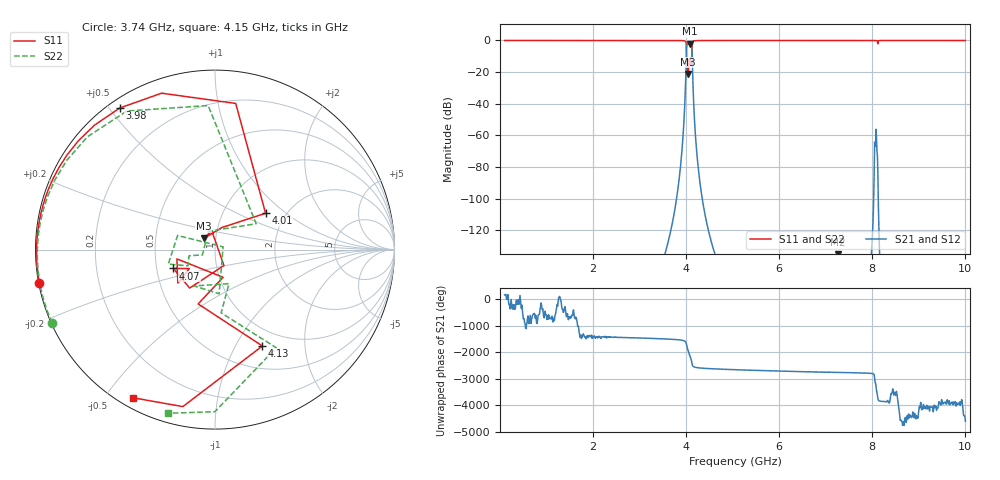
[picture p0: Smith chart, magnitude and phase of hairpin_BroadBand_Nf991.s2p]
! Sonnet Data File
! From: em Version : 18.56
! From Project: hairpin_BroadBand_Nf991
! Data is De-embedded
! Data File Written: 03/21/2023 19:02:32
!< HDATE 10/24/2012 11:01:19
!< MDATE 10/24/2012 11:01:19
# GHZ S MA R 50.00000
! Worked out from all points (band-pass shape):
!   991 points, 100 MHz to 10 GHz, reference 50 ohm
!   highest |S21| = -1.98 dB at 4.08 GHz (marker M1); lowest = -199.0 dB at 7.26 GHz (marker M2)
!   |S21| within 3 dB of the highest: 4.01 GHz to 4.122 GHz (112.5 MHz wide, 2.77 % of centre)
!   lowest |S11| = -21.1 dB at 4.03 GHz (marker M3), VSWR 1.19, Z = 43.8 + j5.54 ohm
!   |S11| at or under -10 dB: 4.011 GHz to 4.12 GHz (109 MHz wide, 2.68 % of centre)
!   |S22| runs from -26.4 to 0.0 dB; largest |S21 - S12| = 7.8e-12
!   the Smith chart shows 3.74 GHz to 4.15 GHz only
!   S11 on the Smith chart (normalised r, x): 3.74 GHz: 0.00, -0.09; 3.98 GHz: 0.03, +0.53; 4.01 GHz: 1.58, +0.73; 4.07 GHz: 0.61, -0.14; 4.13 GHz: 0.77, -1.29; 4.15 GHz: 0.04, -0.59
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0.1  0.9999 -3.0  8.675e-12 161.1  8.675e-12 161.1  0.9999 -2.8
1.75  0.9988 -57.0  2.28e-11 -41.7  2.28e-11 -41.7  0.9989 -53.5
3.41  0.9971 -141.6  4.353e-08 -47.0  4.353e-08 -47.0  0.9972 -130.2
3.74  0.9956 -169.4  3.24e-06 -75.0  3.24e-06 -75.0  0.9958 -155.8
3.89  0.9907 168.0  0.0001523 -99.5  0.0001523 -99.5  0.9908 -177.4
3.98  0.9509 124.0  0.01997 -151.2  0.01997 -151.2  0.9488 138.5
4.01  0.3469 35.7  0.5674 77.3  0.5674 77.3  0.2709 32.2
4.03  0.08818 134.7  0.7749 -72.9  0.7749 -72.9  0.07592 -157.0
4.07  0.2549 -155.7  0.7843 84.3  0.7843 84.3  0.2226 159.3
4.08  0.1779 -143.6  0.7959 35.1  0.7959 35.1  0.04794 18.7
4.13  0.5984 -63.8  0.3575 66.3  0.3575 66.3  0.6445 -58.0
4.15  0.9437 -119.0  0.02903 -8.0  0.02903 -8.0  0.9479 -105.9
4.22  0.9876 -157.6  0.0004056 -53.9  0.0004056 -53.9  0.9879 -142.5
4.29  0.9928 -171.9  3.897e-05 -70.0  3.897e-05 -70.0  0.9929 -156.3
5.06  0.9972 123.7  6.441e-09 -136.7  6.441e-09 -136.7  0.997 140.7
6.71  0.9978 44.5  9.206e-11 137.5  9.206e-11 137.5  0.9978 58.1
7.26  0.9978 25.4  1.126e-10 120.5  1.126e-10 120.5  0.9978 38.2
8  0.997 1.7  5.629e-07 78.6  5.629e-07 78.6  0.9969 14.1
8.07  0.9941 -1.3  0.0004644 71.5  0.0004644 71.5  0.986 10.0
8.16  0.9937 -0.6  1.194e-07 123.9  1.194e-07 123.9  0.9951 11.9
8.36  0.9972 -8.1  5.223e-12 68.6  5.223e-12 68.6  0.9974 4.8
10  0.9956 -61.4  4.732e-12 85.9  4.732e-12 85.9  0.9963 -43.0
